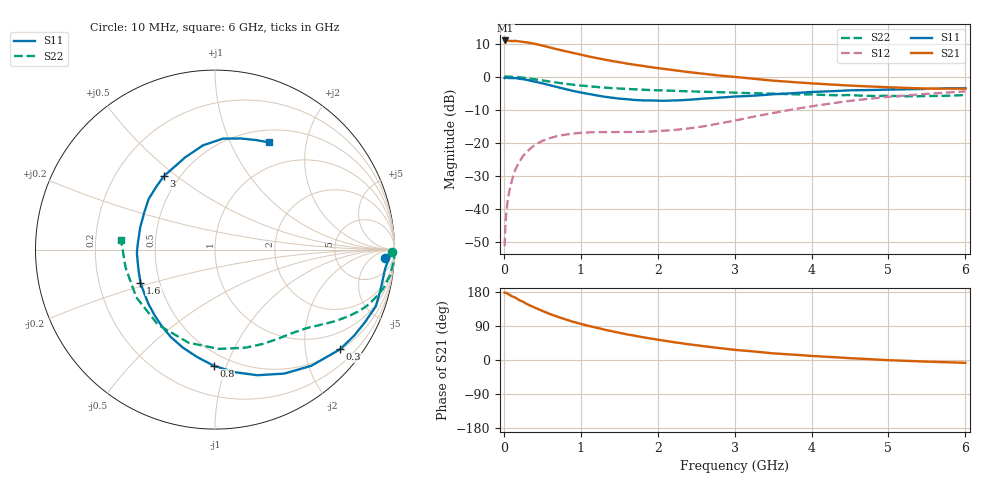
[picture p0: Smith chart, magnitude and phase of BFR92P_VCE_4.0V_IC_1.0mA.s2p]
! Infineon Technologies  Discrete & RF Semiconductors
! BFR92P
! VCE =  4.0 V,  IC =  1.0 mA
! Common Emitter S-Parameters:  Apr 2014
# GHz  S  MA  R  50
!  f  S11  S21  S12  S22
! GHz  MAG  ANG  MAG  ANG  MAG  ANG  MAG  ANG
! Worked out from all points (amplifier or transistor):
!   77 points, 10 MHz to 6 GHz, reference 50 ohm
!   highest |S21| = 10.9 dB at 20 MHz (marker M1)
!   |S21| within 3 dB of that: start of sweep to 754.1 MHz
!   unconditionally stable (mu >= 1): 1.672 GHz to 3.255 GHz
!   at 130 MHz: K = 0.08, MSG = 20.1 dB, |S12| = -29.4 dB
!   at 2.2 GHz: K = 1.16, MAG = 6.7 dB, |S12| = -16.2 dB
!   at 6 GHz: K = 0.94, MSG = 0.4 dB, |S12| = -4.5 dB
!   S11 on the Smith chart (normalised r, x): 10 MHz: 20, -19; 300 MHz: 0.51, -2.78; 800 MHz: 0.41, -0.90; 1.6 GHz: 0.39, -0.18; 3 GHz: 0.41, +0.45; 6 GHz: 0.65, +1.41
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0.01  0.9493 -2.8  3.446 177.6  0.0027 86.9  0.9864 -0.7
0.02  0.9811 -0.8  3.524 178.1  0.0053 89.9  1 -1.0
0.03  0.9709 -2.7  3.522 177.1  0.008 87.3  1 -1.5
0.05  0.9536 -6.5  3.52 175.0  0.0133 85.2  1 -2.6
0.11  0.9485 -14.4  3.451 167.8  0.0282 80.3  0.9914 -5.8
0.15  0.9501 -19.4  3.475 164.5  0.0392 78.9  0.9881 -8.0
0.2  0.9279 -26.0  3.406 157.9  0.0509 73.5  0.9732 -10.5
0.3  0.8915 -38.5  3.295 147.7  0.073 66.9  0.9443 -15.3
0.4  0.8411 -50.3  3.14 138.3  0.0914 60.6  0.9109 -19.5
0.5  0.7914 -60.8  2.952 129.6  0.1063 55.1  0.8751 -22.9
0.6  0.7386 -71.4  2.759 121.3  0.117 50.3  0.8396 -25.8
0.8  0.6471 -90.6  2.423 107.3  0.1319 42.5  0.7782 -30.8
0.9  0.6064 -99.5  2.285 100.9  0.1371 39.7  0.7534 -32.8
1.1  0.5463 -116.6  2.022 90.2  0.1426 35.8  0.7142 -36.2
1.3  0.4972 -132.6  1.819 80.6  0.1441 34.1  0.6819 -39.4
1.6  0.4541 -156.1  1.574 67.7  0.1447 34.2  0.6501 -44.2
2.1  0.4306 169.7  1.299 50.6  0.152 41.1  0.6141 -52.6
3  0.4986 124.9  0.99 26.8  0.2147 53.7  0.5724 -72.7
3.1  0.5032 121.3  0.964 25.1  0.2278 53.6  0.5655 -75.7
4.1  0.5901 94.4  0.777 9.6  0.3687 48.0  0.5306 -110.1
5.1  0.6375 75.6  0.683 -1.2  0.5047 32.0  0.507 -152.7
6  0.6691 63.3  0.657 -7.4  0.5974 17.0  0.5268 173.9
